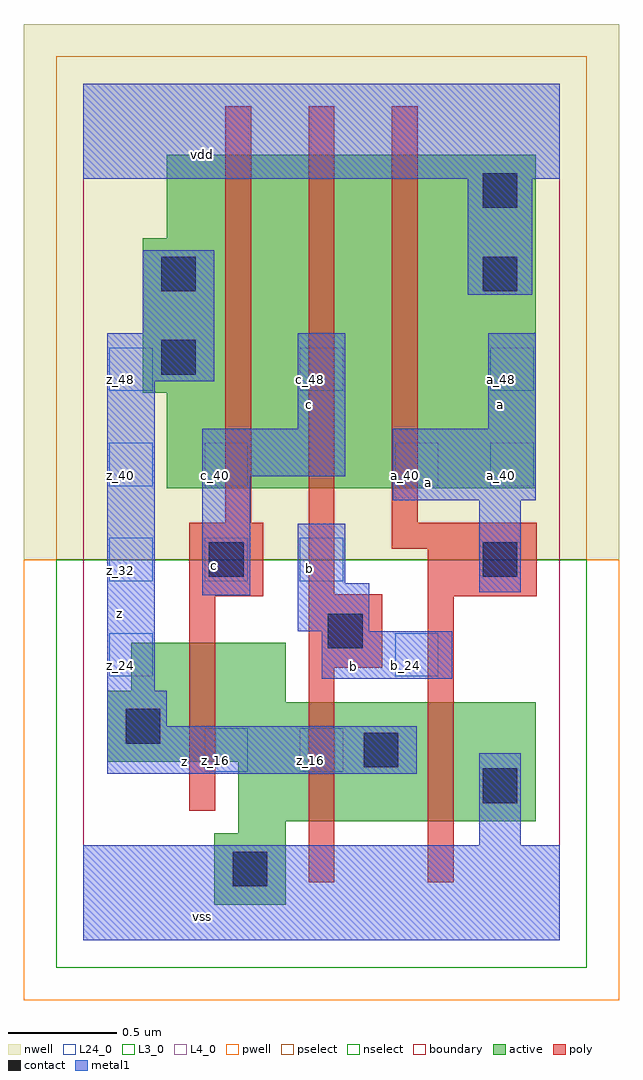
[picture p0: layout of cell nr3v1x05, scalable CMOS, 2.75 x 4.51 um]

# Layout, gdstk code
import gdstk
lib = gdstk.Library(unit=1e-6, precision=2.5e-09)
def R(c, l, rs):  # rectangles x0, y0, x1, y1
    for r in rs: c.add(gdstk.rectangle(r[:2], r[2:], *l))
def A(c, l, x, y, w, h, nx, ny, dx, dy):  # array of equal rectangles
    R(c, l, [(x+i*dx, y+j*dy, x+i*dx+w, y+j*dy+h) for i in range(nx) for j in range(ny)])
L3_0 = (3, 0)
L4_0 = (4, 0)
L24_0 = (24, 0)
contact = (25, 0)
pwell = (41, 0)
nwell = (42, 0)
active = (43, 0)
pselect = (44, 0)
nselect = (45, 0)
poly = (46, 0)
metal1 = (49, 0)
boundary = (63, 0)

nr3v1x05 = lib.new_cell('nr3v1x05')
R(nr3v1x05, L3_0, [(0.605,0.165,0.935,0.495), (0.715,0.495,0.935,0.55), (0.715,0.55,2.09,0.825), (0.11,0.825,2.09,1.1), (0.11,1.1,0.935,1.155), (0.22,1.155,0.935,1.375)])
R(nr3v1x05, L4_0, [(0.385,2.09,2.09,2.53), (0.275,2.53,2.09,3.245), (0.385,3.245,2.09,3.63)])
A(nr3v1x05, L24_0, 0.12, 1.66, 0.2, 0.2, 3, 1, 0.44, 0)
A(nr3v1x05, L24_0, 0.12, 2.54, 0.2, 0.2, 3, 1, 0.88, 0)
R(nr3v1x05, L24_0, [(0.56,0.78,0.76,0.98), (1,0.78,1.2,0.98), (0.12,1.22,0.32,1.42), (1.44,1.22,1.64,1.42), (0.12,2.1,0.32,2.3), (0.56,2.1,0.76,2.3), (1.44,2.1,1.64,2.3), (1.88,2.1,2.08,2.3)])
R(nr3v1x05, contact, [(0.69,0.25,0.85,0.41), (1.845,0.635,2.005,0.795), (1.295,0.8,1.455,0.96), (0.195,0.91,0.355,1.07), (1.13,1.35,1.29,1.51), (0.58,1.68,0.74,1.84), (1.845,1.68,2.005,1.84), (0.36,2.615,0.52,2.775), (0.36,3,0.52,3.16), (1.845,3,2.005,3.16), (1.845,3.385,2.005,3.545)])
R(nr3v1x05, pwell, [(-0.275,-0.275,2.475,1.76)])
R(nr3v1x05, nwell, [(-0.275,1.76,2.475,4.235)])
R(nr3v1x05, active, [(0.605,0.165,0.935,0.495), (0.715,0.495,0.935,0.55), (0.715,0.55,2.09,0.825), (0.11,0.825,2.09,1.1), (0.11,1.1,0.935,1.155), (0.22,1.155,0.935,1.375), (0.385,2.09,2.09,2.53), (0.275,2.53,2.09,3.245), (0.385,3.245,2.09,3.63)])
R(nr3v1x05, pselect, [(-0.125,1.76,2.325,4.085)])
R(nr3v1x05, nselect, [(-0.125,-0.125,2.325,1.76)])
R(nr3v1x05, poly, [(1.04,0.27,1.16,1.26), (1.59,0.27,1.71,1.59), (0.49,0.6,0.61,1.59), (1.04,1.26,1.38,1.6), (0.49,1.59,0.83,1.93), (1.59,1.59,2.095,1.81), (1.04,1.6,1.16,3.855), (1.425,1.81,2.095,1.93), (0.655,1.93,0.775,3.855), (1.425,1.93,1.545,3.855)])
R(nr3v1x05, metal1, [(0,0,2.2,0.44), (1.83,0.44,2.02,0.865), (0.11,0.77,1.54,0.99), (0.11,0.99,0.385,1.155), (0.11,1.155,0.33,2.585), (1.1,1.21,1.705,1.43), (0.99,1.43,1.32,1.65), (0.55,1.595,0.77,2.145), (1.83,1.61,2.02,2.035), (0.99,1.65,1.21,1.925), (1.43,2.035,2.09,2.365), (0.55,2.145,1.21,2.365), (0.99,2.365,1.21,2.805), (1.87,2.365,2.09,2.805), (0.11,2.585,0.605,2.805), (0.275,2.805,0.605,3.19), (1.775,2.985,2.075,3.52), (0,3.52,2.2,3.96)])
R(nr3v1x05, boundary, [(0,0,2.2,3.96)])
nr3v1x05.add(gdstk.Label('vss', (0.55,0.11), layer=49, texttype=0))
nr3v1x05.add(gdstk.Label('z', (0.4675,0.825), layer=49, texttype=0))
nr3v1x05.add(gdstk.Label('b', (1.25,1.265), layer=49, texttype=0))
nr3v1x05.add(gdstk.Label('b', (1.045,1.7175), layer=49, texttype=0))
nr3v1x05.add(gdstk.Label('a', (1.595,2.1175), layer=49, texttype=0))
nr3v1x05.add(gdstk.Label('c', (0.605,1.7325), layer=49, texttype=0))
nr3v1x05.add(gdstk.Label('a', (1.925,2.475), layer=49, texttype=0))
nr3v1x05.add(gdstk.Label('c', (1.045,2.475), layer=49, texttype=0))
nr3v1x05.add(gdstk.Label('z', (0.165,1.5125), layer=49, texttype=0))
nr3v1x05.add(gdstk.Label('vdd', (0.55,3.63), layer=49, texttype=0))
nr3v1x05.add(gdstk.Label('z_16', (1.05,0.83), layer=24, texttype=0))
nr3v1x05.add(gdstk.Label('z_16', (0.61,0.83), layer=24, texttype=0))
nr3v1x05.add(gdstk.Label('z_48', (0.17,2.59), layer=24, texttype=0))
nr3v1x05.add(gdstk.Label('z_40', (0.17,2.15), layer=24, texttype=0))
nr3v1x05.add(gdstk.Label('z_32', (0.17,1.71), layer=24, texttype=0))
nr3v1x05.add(gdstk.Label('z_24', (0.17,1.27), layer=24, texttype=0))
nr3v1x05.add(gdstk.Label('a_40', (1.93,2.15), layer=24, texttype=0))
nr3v1x05.add(gdstk.Label('b_24', (1.49,1.27), layer=24, texttype=0))
nr3v1x05.add(gdstk.Label('c_48', (1.05,2.59), layer=24, texttype=0))
nr3v1x05.add(gdstk.Label('b_32', (1.05,1.71), layer=24, texttype=0))
nr3v1x05.add(gdstk.Label('c_40', (0.61,2.15), layer=24, texttype=0))
nr3v1x05.add(gdstk.Label('c_32', (0.61,1.71), layer=24, texttype=0))
nr3v1x05.add(gdstk.Label('a_48', (1.93,2.59), layer=24, texttype=0))
nr3v1x05.add(gdstk.Label('a_40', (1.49,2.15), layer=24, texttype=0))

lib.write_gds('nr3v1x05.gds')
